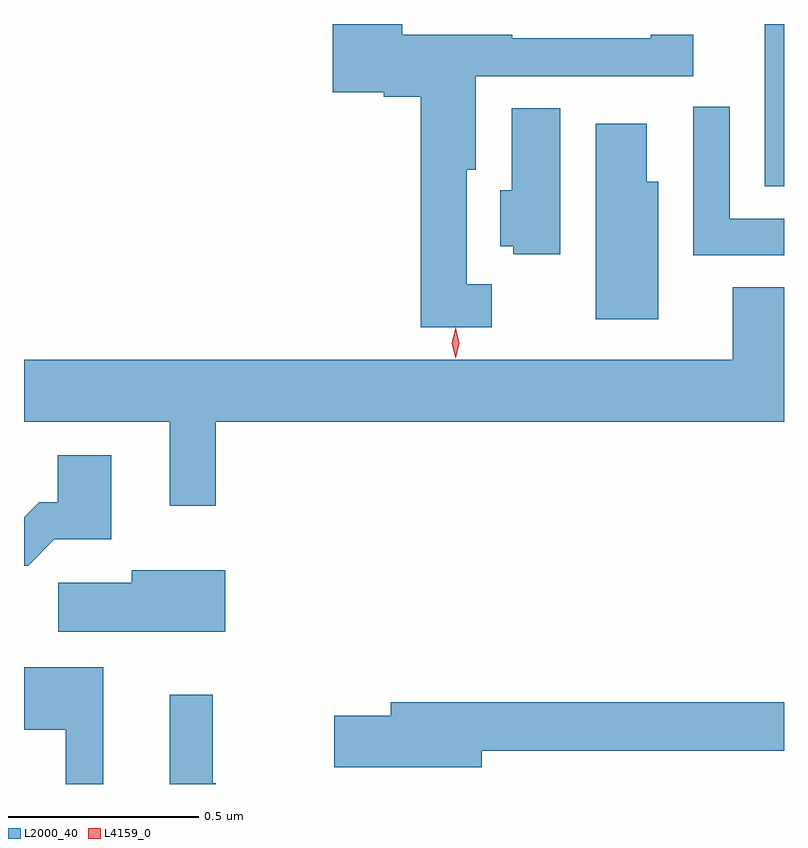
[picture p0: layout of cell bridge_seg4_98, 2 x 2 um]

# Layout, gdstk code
import gdstk
lib = gdstk.Library(unit=1e-6, precision=1e-09)
def R(c, l, rs):  # rectangles x0, y0, x1, y1
    for r in rs: c.add(gdstk.rectangle(r[:2], r[2:], *l))
def P(c, l, *ps):  # polygons
    for p in ps: c.add(gdstk.Polygon(p, *l))
L2000_40 = (2000, 40)
L4159_0 = (4159, 0)

bridge_seg4_98 = lib.new_cell('bridge_seg4_98')
R(bridge_seg4_98, L2000_40, [(491.477,769.468,491.528,769.895)])
P(bridge_seg4_98, L2000_40, [(490.759,769.21),(490.693,769.21),(490.693,769.512),(490.717,769.512),(490.717,769.758),(491.289,769.758),(491.289,769.867),(491.177,769.867),(491.177,769.857),(490.813,769.857),(490.813,769.867),(490.523,769.867),(490.523,769.895),(490.34,769.895),(490.34,769.715),(490.475,769.715),(490.475,769.703),(490.572,769.703),(490.572,769.097),(490.759,769.097)],
  [(491.528,769.383),(491.385,769.383),(491.385,769.677),(491.289,769.677),(491.289,769.287),(491.528,769.287)],
  [(490.939,769.673),(490.811,769.673),(490.811,769.458),(490.781,769.458),(490.781,769.31),(490.815,769.31),(490.815,769.289),(490.939,769.289)],
  [(491.197,769.48),(491.167,769.48),(491.167,769.633),(491.033,769.633),(491.033,769.118),(491.197,769.118)],
  [(490.033,768.848),(491.528,768.848),(491.528,769.202),(491.393,769.202),(491.393,769.012),(489.528,769.012),(489.528,768.848),(489.911,768.848),(489.911,768.627),(490.033,768.627)],
  [(489.608,768.539),(489.757,768.539),(489.757,768.76),(489.617,768.76),(489.617,768.637),(489.568,768.637),(489.528,768.597),(489.528,768.47),(489.539,768.47)],
  [(490.057,768.457),(489.812,768.457),(489.812,768.425),(489.618,768.425),(489.618,768.296),(490.057,768.296)],
  [(489.736,768.202),(489.528,768.202),(489.528,768.038),(489.638,768.038),(489.638,767.895),(489.736,767.895)],
  [(490.033,767.897),(490.025,767.897),(490.025,768.13),(489.911,768.13),(489.911,767.895),(490.033,767.895)],
  [(490.732,767.982),(491.528,767.982),(491.528,768.11),(490.493,768.11),(490.493,768.074),(490.344,768.074),(490.344,767.939),(490.732,767.939)])
P(bridge_seg4_98, L4159_0, [(490.664,769.015),(490.664,769.015),(490.654,769.055),(490.664,769.096),(490.664,769.096),(490.664,769.096),(490.674,769.055),(490.664,769.015)])

lib.write_gds('bridge_seg4_98.gds')
